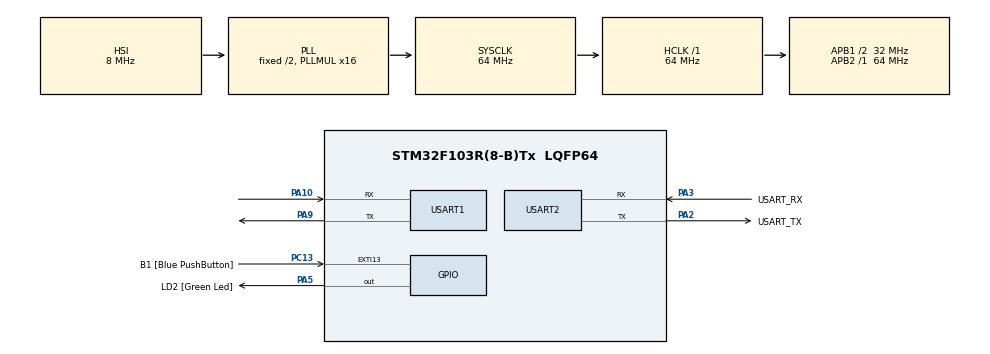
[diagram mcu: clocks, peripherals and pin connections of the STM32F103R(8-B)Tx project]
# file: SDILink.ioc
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Mcu.Family=STM32F1
Mcu.Name=STM32F103R(8-B)Tx
Mcu.Package=LQFP64
NVIC.EXTI15_10_IRQn=true\:0\:0\:false\:false\:true\:true\:true
NVIC.PriorityGroup=NVIC_PRIORITYGROUP_4
NVIC.USART1_IRQn=true\:0\:0\:false\:false\:true\:true\:true
NVIC.USART2_IRQn=true\:0\:0\:false\:false\:true\:true\:false
PA10.Mode=Asynchronous
PA10.Signal=USART1_RX
PA13.GPIO_Label=TMS
PA13.Mode=Serial_Wire
PA13.Signal=SYS_JTMS-SWDIO
PA14.GPIO_Label=TCK
PA14.Mode=Serial_Wire
PA14.Signal=SYS_JTCK-SWCLK
PA2.GPIO_Label=USART_TX
PA2.GPIO_Mode=GPIO_MODE_AF_PP
PA2.GPIO_PuPd=GPIO_NOPULL
PA2.GPIO_Speed=GPIO_SPEED_FREQ_LOW
PA2.Mode=Asynchronous
PA2.Signal=USART2_TX
PA3.GPIO_Label=USART_RX
PA3.GPIO_Mode=GPIO_MODE_AF_PP
PA3.GPIO_PuPd=GPIO_NOPULL
PA3.GPIO_Speed=GPIO_SPEED_FREQ_LOW
PA3.Mode=Asynchronous
PA3.Signal=USART2_RX
PA5.GPIO_Label=LD2 [Green Led]
PA5.GPIO_ModeDefaultOutputPP=GPIO_MODE_OUTPUT_PP
PA5.GPIO_PuPd=GPIO_NOPULL
PA5.GPIO_Speed=GPIO_SPEED_FREQ_LOW
PA5.Signal=GPIO_Output
PA9.Mode=Asynchronous
PA9.Signal=USART1_TX
PB3.GPIO_Label=SWO
PB3.Signal=SYS_JTDO-TRACESWO
PC13-TAMPER-RTC.GPIO_Label=B1 [Blue PushButton]
PC13-TAMPER-RTC.GPIO_PuPd=GPIO_NOPULL
PC13-TAMPER-RTC.Signal=GPXTI13
PC14-OSC32_IN.Signal=RCC_OSC32_IN
PC15-OSC32_OUT.Signal=RCC_OSC32_OUT
PD0-OSC_IN.Signal=RCC_OSC_IN
PD1-OSC_OUT.Signal=RCC_OSC_OUT
ProjectManager.HeapSize=0x200
ProjectManager.StackSize=0x400
ProjectManager.TargetToolchain=STM32CubeIDE
RCC.AHBFreq_Value=64000000
RCC.APB1CLKDivider=RCC_HCLK_DIV2
RCC.APB1Freq_Value=32000000
RCC.APB1TimFreq_Value=64000000
RCC.APB2Freq_Value=64000000
RCC.APB2TimFreq_Value=64000000
RCC.HCLKFreq_Value=64000000
RCC.PLLMUL=RCC_PLL_MUL16
RCC.RTCClockSelection=RCC_RTCCLKSOURCE_LSE
RCC.SYSCLKFreq_VALUE=64000000
RCC.SYSCLKSource=RCC_SYSCLKSOURCE_PLLCLK
RCC.USBFreq_Value=64000000
USART1.VirtualMode=VM_ASYNC
USART2.VirtualMode=VM_ASYNC
board=NUCLEO-F103RB

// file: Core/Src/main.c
/* USER CODE BEGIN Header */
/**
  ******************************************************************************
  * @file           : main.c
  * @brief          : Main program body
  ******************************************************************************
  * @attention
  *
  * <h2><center>&copy; Copyright (c) 2023 STMicroelectronics.
  * All rights reserved.</center></h2>
  *
  * This software component is licensed by ST under BSD 3-Clause license,
  * the "License"; You may not use this file except in compliance with the
  * License. You may obtain a copy of the License at:
  *                        opensource.org/licenses/BSD-3-Clause
  *
  ******************************************************************************
  */
/* USER CODE END Header */
#include "main.h"

/* USER CODE BEGIN Includes */
#include "stm32f1xx_hal.h"
#include <stdio.h>
#include <string.h>
#include <memory.h>
#include <stdlib.h>
#include <time.h>

#include "bms_pack.h"
#include "common.h"
#include "bms.h"
#include "esp.h"
#include "cJSON.h"
#include "bms_to_json.h"
/* USER CODE END Includes */

UART_HandleTypeDef huart1;
UART_HandleTypeDef huart2;

void SystemClock_Config(void);
static void MX_GPIO_Init(void);
static void MX_USART2_UART_Init(void);
static void MX_USART1_UART_Init(void);
/* USER CODE BEGIN PFP */
#ifdef __GNUC__
#define PUTCHAR_PROTOTYPE int __io_putchar(int ch)
#else
#define PUTCHAR_PROTOTYPE int fputc(int ch, FILE *f)
#endif /* __GNUC__ */

PUTCHAR_PROTOTYPE
{
  if (ch == '\n')
    HAL_UART_Transmit (&huart2, (uint8_t*) "\r", 1, 0xFFFF);
  HAL_UART_Transmit (&huart2, (uint8_t*) &ch, 1, 0xFFFF);

  return ch;
}

void printBMSStatus(BMS_PACK *pack)
{
	printf("Pack : %s\n", pack->serialCode);
	for(int i = 0; i < pack->numModules; ++i)
	{
		printf("Module : %s\n", pack->modules[i].serialCode);
		for(int j = 0; j < pack->modules[i].numCells; ++j)
		{
			printf("Cell : %s\n", pack->modules[i].cell[j].serialCode);
		}
	}
}

void initAndCheckESP()
{
	  ESPSendAT(&huart1);
	  ESPSendAT_CWLAP(&huart1);
	  ESPSendAT_CWJAP(&huart1);
	  ESPSendAT_CWJAP_CHECK(&huart1);
}
/* USER CODE END PFP */

int main(void)
{

  /* MCU Configuration--------------------------------------------------------*/

  /* Reset of all peripherals, Initializes the Flash interface and the Systick. */
  HAL_Init();

  /* Configure the system clock */
  SystemClock_Config();

  /* Initialize all configured peripherals */
  MX_GPIO_Init();
  MX_USART2_UART_Init();
  MX_USART1_UART_Init();

  /* USER CODE BEGIN 2 */
  BMS_PACK pack;
  initBMS(&pack);

  // Connection Prepare
  //initAndCheckESP();

  /* USER CODE END 2 */

  /* Infinite loop */
  while (1)
  {

    /* USER CODE BEGIN 3 */
	  readBMS(&pack);

//	  char *body = getJsonStringFromBMS(&pack);
//	  char body[]="{\"serial\":\"string\",\"voltage\":0,\"temperature\":0,\"current\":0,\"capacity\":0,\"status\":0,\"cycle\":0,\"modules\":[{\"serial\":\"string\",\"voltage\":0,\"temperature\":0,\"cells\":[{\"serial\":\"string\",\"voltage\":0}]}]}";

//	  if(0 ==ESPSendAT_CIPSTART(&huart1))
//	  {
////		  free(body);
//		  continue;
//	  }
//
//	  // POST
//	  ESPSendAT_POST(&huart1, body);
////	  free(body);
//
//	  // GET
////	    ESPSendAT_GET(&huart1);
//
//	  ESPSendAT_CIPCLOSE(&huart1);

	  // Module Test
	  char *body = getJsonStringFromBMSModule(&(pack.modules[0]));
	  //printf("%s\n",body);

	  if(0 ==ESPSendAT_CIPSTART(&huart1))
	  {
		  free(body);
		  continue;
	  }

	  // POST
	  ESPSendAT_POST(&huart1, body);
	  free(body);

	  ESPSendAT_CIPCLOSE(&huart1);

	  printf("Loop End\n");
	  HAL_Delay(5000);
  }
  /* USER CODE END 3 */
}

void SystemClock_Config(void)
{
  RCC_OscInitTypeDef RCC_OscInitStruct = {0};
  RCC_ClkInitTypeDef RCC_ClkInitStruct = {0};

  /** Initializes the RCC Oscillators according to the specified parameters
  * in the RCC_OscInitTypeDef structure.
  */
  RCC_OscInitStruct.OscillatorType = RCC_OSCILLATORTYPE_HSI;
  RCC_OscInitStruct.HSIState = RCC_HSI_ON;
  RCC_OscInitStruct.HSICalibrationValue = RCC_HSICALIBRATION_DEFAULT;
  RCC_OscInitStruct.PLL.PLLState = RCC_PLL_ON;
  RCC_OscInitStruct.PLL.PLLSource = RCC_PLLSOURCE_HSI_DIV2;
  RCC_OscInitStruct.PLL.PLLMUL = RCC_PLL_MUL16;
  if (HAL_RCC_OscConfig(&RCC_OscInitStruct) != HAL_OK)
  {
    Error_Handler();
  }
  /** Initializes the CPU, AHB and APB buses clocks
  */
  RCC_ClkInitStruct.ClockType = RCC_CLOCKTYPE_HCLK|RCC_CLOCKTYPE_SYSCLK
                              |RCC_CLOCKTYPE_PCLK1|RCC_CLOCKTYPE_PCLK2;
  RCC_ClkInitStruct.SYSCLKSource = RCC_SYSCLKSOURCE_PLLCLK;
  RCC_ClkInitStruct.AHBCLKDivider = RCC_SYSCLK_DIV1;
  RCC_ClkInitStruct.APB1CLKDivider = RCC_HCLK_DIV2;
  RCC_ClkInitStruct.APB2CLKDivider = RCC_HCLK_DIV1;

  if (HAL_RCC_ClockConfig(&RCC_ClkInitStruct, FLASH_LATENCY_2) != HAL_OK)
  {
    Error_Handler();
  }
}

static void MX_USART1_UART_Init(void)
{

  huart1.Instance = USART1;
  huart1.Init.BaudRate = 9600;
  huart1.Init.WordLength = UART_WORDLENGTH_8B;
  huart1.Init.StopBits = UART_STOPBITS_1;
  huart1.Init.Parity = UART_PARITY_NONE;
  huart1.Init.Mode = UART_MODE_TX_RX;
  huart1.Init.HwFlowCtl = UART_HWCONTROL_NONE;
  huart1.Init.OverSampling = UART_OVERSAMPLING_16;
  if (HAL_UART_Init(&huart1) != HAL_OK)
  {
    Error_Handler();
  }

}

static void MX_USART2_UART_Init(void)
{

  huart2.Instance = USART2;
  huart2.Init.BaudRate = 115200;
  huart2.Init.WordLength = UART_WORDLENGTH_8B;
  huart2.Init.StopBits = UART_STOPBITS_1;
  huart2.Init.Parity = UART_PARITY_NONE;
  huart2.Init.Mode = UART_MODE_TX_RX;
  huart2.Init.HwFlowCtl = UART_HWCONTROL_NONE;
  huart2.Init.OverSampling = UART_OVERSAMPLING_16;
  if (HAL_UART_Init(&huart2) != HAL_OK)
  {
    Error_Handler();
  }

}

static void MX_GPIO_Init(void)
{
  GPIO_InitTypeDef GPIO_InitStruct = {0};

  /* GPIO Ports Clock Enable */
  __HAL_RCC_GPIOC_CLK_ENABLE();
  __HAL_RCC_GPIOD_CLK_ENABLE();
  __HAL_RCC_GPIOA_CLK_ENABLE();
  __HAL_RCC_GPIOB_CLK_ENABLE();

  /*Configure GPIO pin Output Level */
  HAL_GPIO_WritePin(LD2_GPIO_Port, LD2_Pin, GPIO_PIN_RESET);

  /*Configure GPIO pin : B1_Pin */
  GPIO_InitStruct.Pin = B1_Pin;
  GPIO_InitStruct.Mode = GPIO_MODE_IT_RISING;
  GPIO_InitStruct.Pull = GPIO_NOPULL;
  HAL_GPIO_Init(B1_GPIO_Port, &GPIO_InitStruct);

  /*Configure GPIO pin : LD2_Pin */
  GPIO_InitStruct.Pin = LD2_Pin;
  GPIO_InitStruct.Mode = GPIO_MODE_OUTPUT_PP;
  GPIO_InitStruct.Pull = GPIO_NOPULL;
  GPIO_InitStruct.Speed = GPIO_SPEED_FREQ_LOW;
  HAL_GPIO_Init(LD2_GPIO_Port, &GPIO_InitStruct);

  /*Configure GPIO pin : PA9 */
  GPIO_InitStruct.Pin = GPIO_PIN_9;
  GPIO_InitStruct.Mode = GPIO_MODE_AF_PP;
  GPIO_InitStruct.Pull = GPIO_NOPULL;
  GPIO_InitStruct.Speed = GPIO_SPEED_FREQ_HIGH;
  HAL_GPIO_Init(GPIOA, &GPIO_InitStruct);

  /*Configure GPIO pin : PA10 */
  GPIO_InitStruct.Pin = GPIO_PIN_10;
  GPIO_InitStruct.Mode = GPIO_MODE_INPUT;
  GPIO_InitStruct.Pull = GPIO_NOPULL;
  GPIO_InitStruct.Speed = GPIO_SPEED_FREQ_HIGH;
  HAL_GPIO_Init(GPIOA, &GPIO_InitStruct);

  /* EXTI interrupt init*/
  HAL_NVIC_SetPriority(EXTI15_10_IRQn, 0, 0);
  HAL_NVIC_EnableIRQ(EXTI15_10_IRQn);

}

void Error_Handler(void)
{
}

/************************ (C) COPYRIGHT STMicroelectronics *****END OF FILE****/
